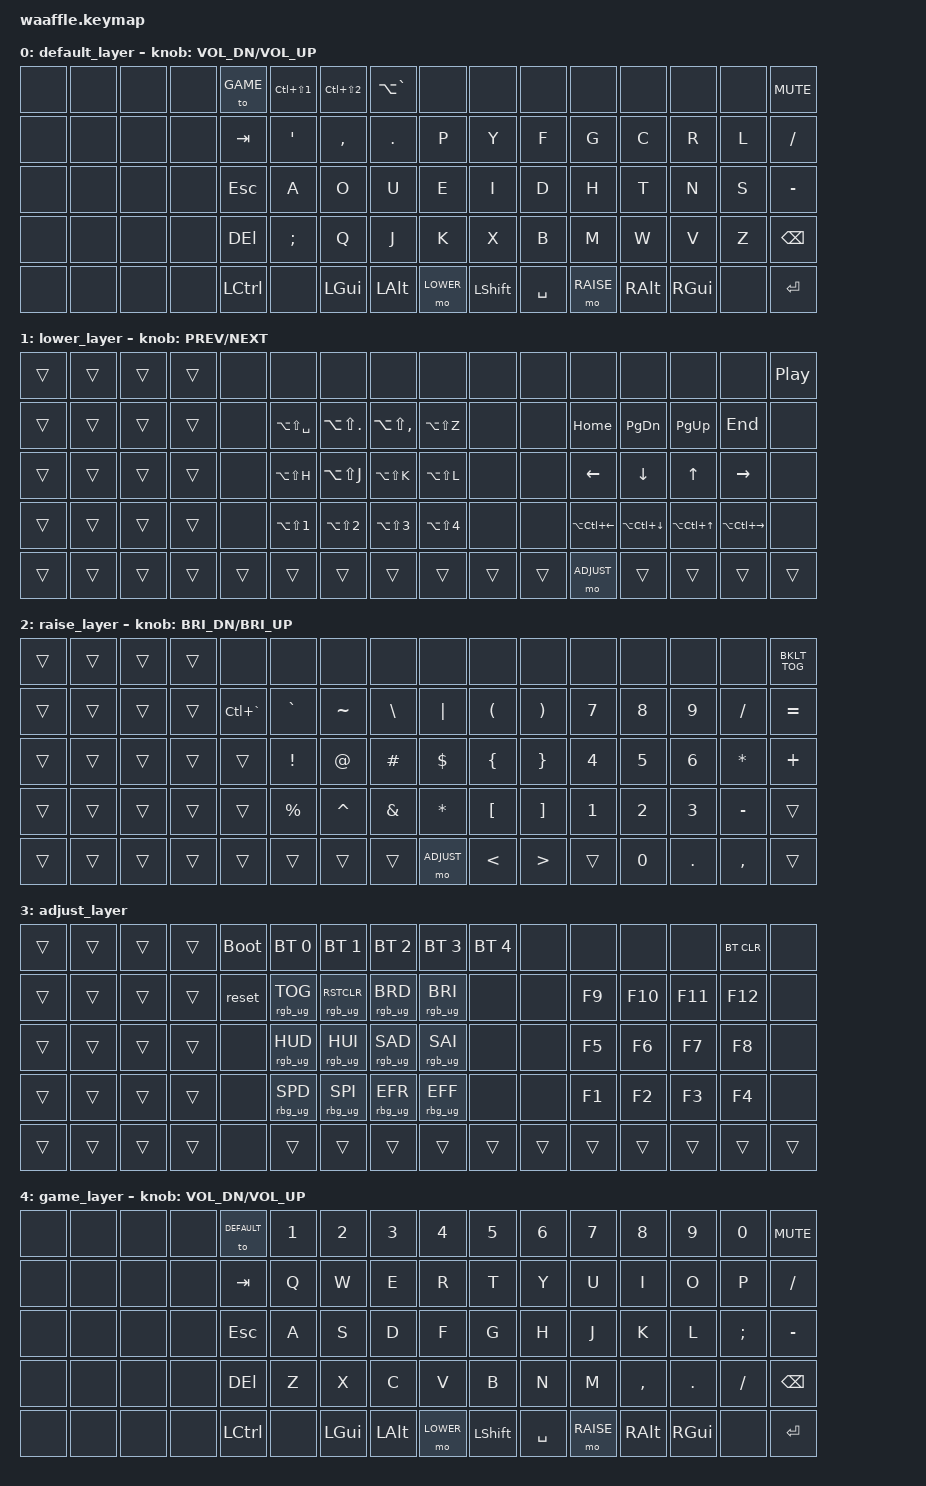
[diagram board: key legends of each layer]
/*
 * Copyright (c) 2020 dELLIKEEb
 *
 * SPDX-License-Identifier: MIT
 */

#include <behaviors.dtsi>
#include <dt-bindings/zmk/keys.h>
#include <dt-bindings/zmk/bt.h>
#include <dt-bindings/zmk/rgb.h>

// custom keycode defs for easier access
#define DEFAULT 0
#define LOWER   1
#define RAISE   2
#define ADJUST  3
#define GAME    4

#define ENGTOG LC(LS(N1))
#define IMETOG LC(LS(N2))
#define ROMTOG LA(GRAV)

#define AMCYC  LA(LS(SPACE))
#define AMSHR  LA(LS(DOT))
#define AMGRW  LA(LS(COMMA))
#define AMREL  LA(LS(Z))
#define AMLFT  LA(LS(H))
#define AMCCW  LA(LS(J))
#define AMCW   LA(LS(K))
#define AMRGH  LA(LS(L))
#define AMTLL  LA(LS(N1))
#define AMTLW  LA(LS(N2))
#define AMBSP  LA(LS(N3))
#define AMALL  LA(LS(N4))

#define WKSPL  LA(LC(LEFT))
#define WKSPD  LA(LC(DOWN))
#define WKSPU  LA(LC(UP))
#define WKSPR  LA(LC(RIGHT))

#define QUAKE LC(GRAV)

#define RSTCLR RGB_COLOR_HSB(0,100,100)

#define BT0  BT_SEL 0
#define BT1  BT_SEL 1
#define BT2  BT_SEL 2
#define BT3  BT_SEL 3
#define BT4  BT_SEL 4

/ {
    keymap {
        compatible = "zmk,keymap";

        default_layer {
            bindings = <
                &none       &none       &none       &none       &to GAME   &kp ENGTOG  &kp IMETOG  &kp ROMTOG  &none     &none       &none       &none       &none       &none       &none       &kp C_MUTE
                &none       &none       &none       &none       &kp TAB    &kp SQT     &kp COMMA   &kp DOT     &kp P     &kp Y       &kp F       &kp G       &kp C       &kp R       &kp L       &kp FSLH
                &none       &none       &none       &none       &kp ESC    &kp A       &kp O       &kp U       &kp E     &kp I       &kp D       &kp H       &kp T       &kp N       &kp S       &kp MINUS
                &none       &none       &none       &none       &kp DEl    &kp SEMI    &kp Q       &kp J       &kp K     &kp X       &kp B       &kp M       &kp W       &kp V       &kp Z       &kp BSPC
                &none       &none       &none       &none       &kp LCTL   &none       &kp LGUI    &kp LALT    &mo LOWER &kp LSHFT   &kp SPC     &mo RAISE   &kp RALT    &kp RGUI    &none       &kp RET
            >;
            sensor-bindings = <&inc_dec_kp C_VOL_DN C_VOL_UP>;
        };

        lower_layer {
            bindings = <
                &trans      &trans      &trans      &trans      &none       &none       &none       &none       &none       &none       &none       &none       &none       &none       &none       &kp C_PP
                &trans      &trans      &trans      &trans      &none       &kp AMCYC   &kp AMSHR   &kp AMGRW   &kp AMREL   &none       &none       &kp HOME    &kp PG_DN   &kp PG_UP   &kp END     &none
                &trans      &trans      &trans      &trans      &none       &kp AMLFT   &kp AMCCW   &kp AMCW    &kp AMRGH   &none       &none       &kp LEFT    &kp DOWN    &kp UP      &kp RIGHT   &none
                &trans      &trans      &trans      &trans      &none       &kp AMTLL   &kp AMTLW   &kp AMBSP   &kp AMALL   &none       &none       &kp WKSPL   &kp WKSPD   &kp WKSPU   &kp WKSPR   &none
                &trans      &trans      &trans      &trans      &trans      &trans      &trans      &trans      &trans      &trans      &trans      &mo ADJUST  &trans      &trans      &trans      &trans
            >;
            sensor-bindings = <&inc_dec_kp C_PREV C_NEXT>;
        };

        raise_layer {
            bindings = <
                &trans      &trans      &trans      &trans      &none       &none       &none       &none       &none       &none       &none       &none       &none       &none       &none       &kp C_BKLT_TOG
                &trans      &trans      &trans      &trans      &kp QUAKE   &kp GRAV    &kp TILDE   &kp BSLH    &kp PIPE    &kp LPAR    &kp RPAR    &kp N7      &kp N8      &kp N9      &kp FSLH    &kp EQUAL
                &trans      &trans      &trans      &trans      &trans      &kp EXCL    &kp AT      &kp HASH    &kp DLLR    &kp LBRC    &kp RBRC    &kp N4      &kp N5      &kp N6      &kp ASTRK   &kp PLUS
                &trans      &trans      &trans      &trans      &trans      &kp PRCNT   &kp CARET   &kp AMPS    &kp ASTRK   &kp LBKT    &kp RBKT    &kp N1      &kp N2      &kp N3      &kp MINUS   &trans
                &trans      &trans      &trans      &trans      &trans      &trans      &trans      &trans      &mo ADJUST  &kp LT      &kp GT      &trans      &kp N0      &kp DOT     &kp COMMA   &trans
            >;
            sensor-bindings = <&inc_dec_kp C_BRI_DN C_BRI_UP>;
        };

        adjust_layer {
            bindings = <
                &trans      &trans      &trans      &trans      &bootloader &bt BT_SEL 0     &bt BT_SEL 1    &bt BT_SEL 2     &bt BT_SEL 3      &bt BT_SEL 4    &none       &none       &none       &none       &bt BT_CLR  &none
                &trans      &trans      &trans      &trans      &reset      &rgb_ug RGB_TOG  &rgb_ug RSTCLR  &rgb_ug RGB_BRD  &rgb_ug RGB_BRI   &none           &none       &F9         &F10        &F11        &F12        &none
                &trans      &trans      &trans      &trans      &none       &rgb_ug RGB_HUD  &rgb_ug RGB_HUI &rgb_ug RGB_SAD  &rgb_ug RGB_SAI   &none           &none       &F5         &F6         &F7         &F8         &none
                &trans      &trans      &trans      &trans      &none       &rbg_ug RGB_SPD  &rbg_ug RGB_SPI &rbg_ug RGB_EFR  &rbg_ug RGB_EFF   &none           &none       &F1         &F2         &F3         &F4         &none
                &trans      &trans      &trans      &trans      &none       &trans           &trans          &trans           &trans            &trans          &trans      &trans      &trans      &trans      &trans      &trans
            >;
        };

        game_layer {
            bindings = <
                &none       &none       &none       &none       &to DEFAULT &kp N1      &kp N2      &kp N3      &kp N4    &kp N5      &kp N6      &kp N7      &kp N8      &kp N9      &kp N0      &kp C_MUTE
                &none       &none       &none       &none       &kp TAB     &kp Q       &kp W       &kp E       &kp R     &kp T       &kp Y       &kp U       &kp I       &kp O       &kp P       &kp FSLH
                &none       &none       &none       &none       &kp ESC     &kp A       &kp S       &kp D       &kp F     &kp G       &kp H       &kp J       &kp K       &kp L       &kp SCLN    &kp MINUS
                &none       &none       &none       &none       &kp DEl     &kp Z       &kp X       &kp C       &kp V     &kp B       &kp N       &kp M       &kp CMMA    &kp DOT     &kp FSLH    &kp BSPC
                &none       &none       &none       &none       &kp LCTL    &none       &kp LGUI    &kp LALT    &mo LOWER &kp LSHFT   &kp SPC     &mo RAISE   &kp RALT    &kp RGUI    &none       &kp RET
            >;
            sensor-bindings = <&inc_dec_kp C_VOL_DN C_VOL_UP>;
        };

    };
};
